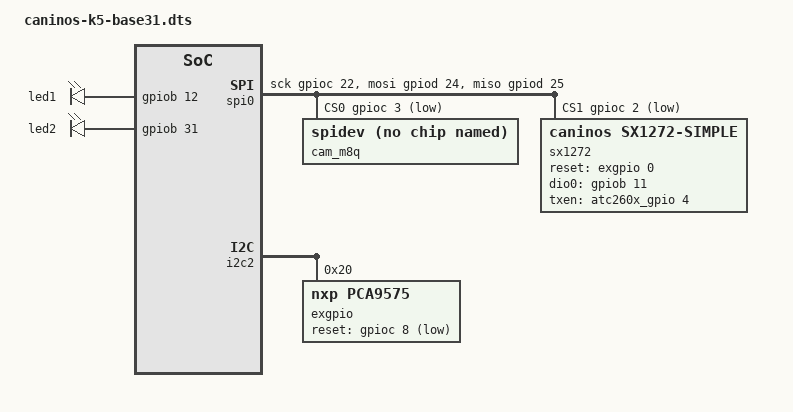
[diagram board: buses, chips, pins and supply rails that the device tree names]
/// SPDX-License-Identifier: (GPL-2.0+ OR MIT)

/dts-v1/;
#include "caninos-k5.dtsi"

/ {
	chosen {
		stdout-path = "serial3:115200n8";
	};
	
	soc {
		leds {
			compatible = "gpio-leds";
			
			led@1 {
				label = "led1";
				gpios = <&gpiob 12 GPIO_ACTIVE_HIGH>;
				linux,default-trigger = "default-on";
				default-state = "ON";
			};
			
			led@2 {
				label = "led2";
				gpios = <&gpiob 31 GPIO_ACTIVE_HIGH>;
				linux,default-trigger = "heartbeat";
				default-state = "ON";
			};
		};
	};
		
	spi0: spi-gpio {
		compatible = "spi-gpio";
		miso-gpios = <&gpiod 25 GPIO_ACTIVE_HIGH>;
		mosi-gpios = <&gpiod 24 GPIO_ACTIVE_HIGH>;
		sck-gpios  = <&gpioc 22 GPIO_ACTIVE_HIGH>; // B2 for core 3.3; C22 for core 3.2 & 2.2
		cs-gpios   = <&gpioc 3  GPIO_ACTIVE_LOW>,
					<&gpioc 2  GPIO_ACTIVE_LOW>;
		cs-num = <2>;

		#address-cells = <1>;
		#size-cells = <0>;

		status = "okay";

		cam_m8q: spi@0 {
			compatible = "linux,spidev";
			reg = <0>;
			// reset = <&exgpio 1 GPIO_ACTIVE_LOW>;
			// int = <&gpiob 30 GPIO_ACTIVE_HIGH>;
		};

		sx1272: spi@1 {
			compatible = "caninos,sx1272-simple";
			reg = <1>;
			reset-gpios = <&exgpio 0 GPIO_ACTIVE_HIGH>;
			dio0-gpios = <&gpiob 11 GPIO_ACTIVE_HIGH>;
			txen-gpios = <&atc260x_gpio 4 GPIO_ACTIVE_HIGH>;
			pa-boost;
			xtal = <32000000>;
			status = "okay";
		};
	};
};

&i2c2 {
    exgpio: exgpio@20 {
        compatible = "nxp,pca9575";
        reg = <0x20>;
        gpio-controller;
        #gpio-cells = <2>;
        reset-gpios = <&gpioc 8 GPIO_ACTIVE_LOW>;
    };
};

&mmc1 {		
	enable-gpios = <&exgpio 4 GPIO_ACTIVE_HIGH>;
};

&emac {
	phy-reset-gpio = <&exgpio 4 GPIO_ACTIVE_HIGH>;
};
